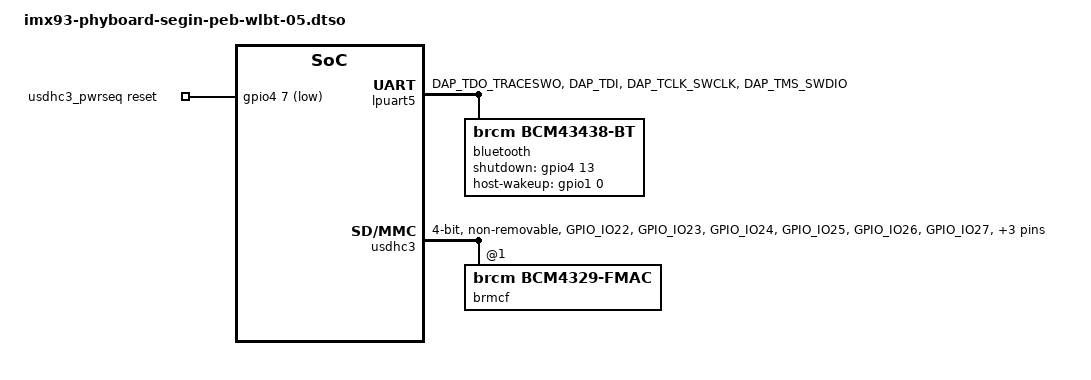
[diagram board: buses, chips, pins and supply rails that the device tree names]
// SPDX-License-Identifier: (GPL-2.0+ OR MIT)
/*
 * Copyright (C) 2025 PHYTEC Messtechnik GmbH
 * Author: Andrej Picej <andrej.picej@norik.com>
 */

/dts-v1/;
/plugin/;

#include <dt-bindings/gpio/gpio.h>
#include "imx93-pinfunc.h"

&{/} {
	usdhc3_pwrseq: usdhc3-pwrseq {
		compatible = "mmc-pwrseq-simple";
		post-power-on-delay-ms = <100>;
		power-off-delay-us = <60>;
		reset-gpios = <&gpio4 7 GPIO_ACTIVE_LOW>;
	};
};

&lpuart5 {
	pinctrl-names = "default";
	pinctrl-0 = <&pinctrl_uart5>;
	status = "okay";

	bluetooth {
		compatible = "brcm,bcm43438-bt";
		shutdown-gpios = <&gpio4 13 GPIO_ACTIVE_HIGH>;
		host-wakeup-gpios = <&gpio1 0 GPIO_ACTIVE_HIGH>;
		max-speed = <2000000>;
	};
};

&usdhc3 {
	#address-cells = <1>;
	#size-cells = <0>;
	pinctrl-names = "default", "sleep";
	pinctrl-0 = <&pinctrl_usdhc3>, <&pinctrl_wlbt>;
	pinctrl-1 = <&pinctrl_usdhc3_sleep>, <&pinctrl_wlbt>;
	mmc-pwrseq = <&usdhc3_pwrseq>;
	bus-width = <4>;
	non-removable;
	no-1-8-v;
	status = "okay";

	brmcf: wifi@1 {
		compatible = "brcm,bcm4329-fmac";
		reg = <1>;
	};
};

&iomuxc {
	pinctrl_uart5: uart5grp {
		fsl,pins = <
			MX93_PAD_DAP_TDO_TRACESWO__LPUART5_TX	0x31e
			MX93_PAD_DAP_TDI__LPUART5_RX		0x31e
			MX93_PAD_DAP_TCLK_SWCLK__LPUART5_CTS_B	0x31e
			MX93_PAD_DAP_TMS_SWDIO__LPUART5_RTS_B	0x31e
		>;
	};

	/* need to config the SION for data and cmd pad, refer to ERR052021 */
	pinctrl_usdhc3: usdhc3grp {
		fsl,pins = <
			MX93_PAD_GPIO_IO22__USDHC3_CLK		0x179e
			MX93_PAD_GPIO_IO23__USDHC3_CMD		0x4000139e
			MX93_PAD_GPIO_IO24__USDHC3_DATA0	0x4000139e
			MX93_PAD_GPIO_IO25__USDHC3_DATA1	0x4000139e
			MX93_PAD_GPIO_IO26__USDHC3_DATA2	0x4000139e
			MX93_PAD_GPIO_IO27__USDHC3_DATA3	0x4000139e
		>;
	};

	pinctrl_usdhc3_sleep: usdhc3sleepgrp {
		fsl,pins = <
			MX93_PAD_GPIO_IO22__USDHC3_CLK		0x31e
			MX93_PAD_GPIO_IO23__USDHC3_CMD		0x31e
			MX93_PAD_GPIO_IO24__USDHC3_DATA0	0x31e
			MX93_PAD_GPIO_IO25__USDHC3_DATA1	0x31e
			MX93_PAD_GPIO_IO26__USDHC3_DATA2	0x31e
			MX93_PAD_GPIO_IO27__USDHC3_DATA3	0x31e
		>;
	};

	pinctrl_wlbt: wlbtgrp {
		fsl,pins = <
			MX93_PAD_ENET1_RD3__GPIO4_IO13		0x31e	/* BT ENABLE */
			MX93_PAD_ENET1_TXC__GPIO4_IO07		0x31e	/* WLAN ENABLE */
			MX93_PAD_I2C1_SCL__GPIO1_IO00		0x31e	/* HOST WAKEUP */
		>;
	};
};
